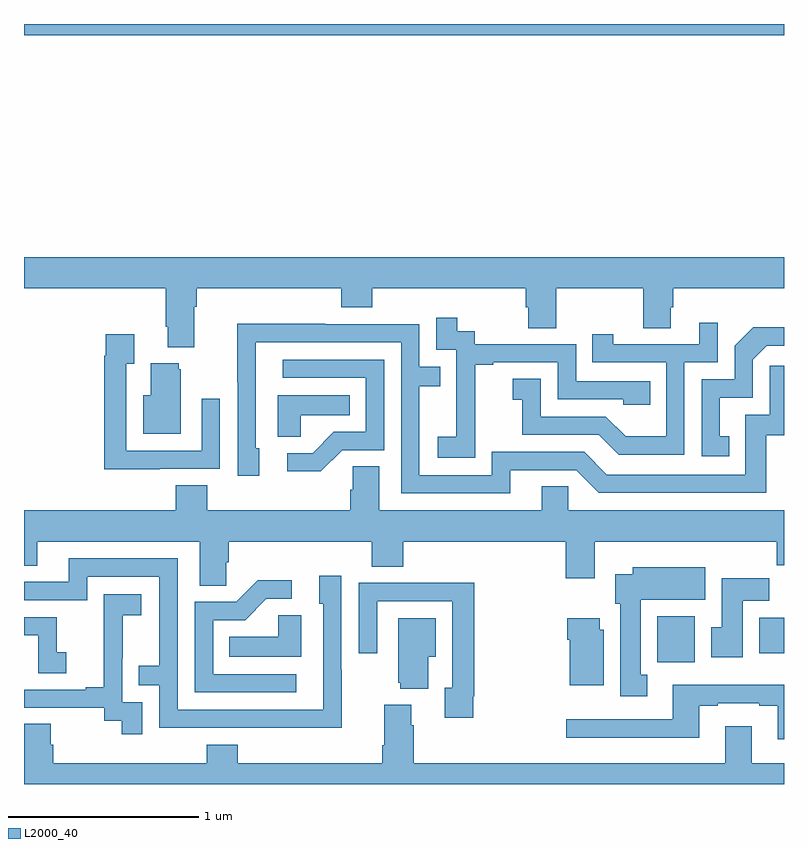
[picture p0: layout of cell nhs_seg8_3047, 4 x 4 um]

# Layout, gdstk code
import gdstk
lib = gdstk.Library(unit=1e-6, precision=1e-09)
def R(c, l, rs):  # rectangles x0, y0, x1, y1
    for r in rs: c.add(gdstk.rectangle(r[:2], r[2:], *l))
def P(c, l, *ps):  # polygons
    for p in ps: c.add(gdstk.Polygon(p, *l))
L2000_40 = (2000, 40)

nhs_seg8_3047 = lib.new_cell('nhs_seg8_3047')
R(nhs_seg8_3047, L2000_40, [(304.334,1106.54,304.531,1106.782), (304.871,1106.588,305,1106.776), (301,1109.84,305,1109.9)])
P(nhs_seg8_3047, L2000_40, [(301.897,1108.412),(301.91,1108.412),(301.91,1108.508),(302.669,1108.508),(302.669,1108.409),(302.834,1108.409),(302.834,1108.508),(303.641,1108.508),(303.641,1108.41),(303.653,1108.41),(303.653,1108.3),(303.801,1108.3),(303.801,1108.508),(304.258,1108.508),(304.258,1108.3),(304.405,1108.3),(304.405,1108.41),(304.418,1108.41),(304.418,1108.508),(305,1108.508),(305,1108.672),(301,1108.672),(301,1108.508),(301.745,1108.508),(301.745,1108.306),(301.757,1108.306),(301.757,1108.199),(301.897,1108.199)],
  [(303.375,1107.823),(303.374,1107.823),(303.374,1108.107),(303.469,1108.107),(303.469,1108.119),(303.81,1108.119),(303.81,1107.924),(304.155,1107.924),(304.155,1107.897),(304.295,1107.897),(304.295,1108.02),(303.906,1108.02),(303.906,1108.215),(303.372,1108.215),(303.372,1108.284),(303.28,1108.284),(303.28,1108.354),(303.171,1108.354),(303.171,1108.185),(303.276,1108.185),(303.276,1107.956),(303.275,1107.956),(303.275,1107.727),(303.177,1107.727),(303.177,1107.617),(303.375,1107.617)],
  [(304.476,1108.119),(304.65,1108.119),(304.65,1108.327),(304.553,1108.327),(304.553,1108.215),(304.102,1108.215),(304.102,1108.267),(303.991,1108.267),(303.991,1108.119),(304.38,1108.119),(304.38,1107.73),(304.166,1107.73),(304.062,1107.834),(303.72,1107.834),(303.72,1108.033),(303.573,1108.033),(303.573,1107.923),(303.622,1107.923),(303.622,1107.738),(304.025,1107.738),(304.13,1107.633),(304.476,1107.633)],
  [(303.559,1107.552),(303.906,1107.552),(304.026,1107.432),(304.906,1107.432),(304.906,1107.735),(305,1107.735),(305,1108.102),(304.926,1108.102),(304.926,1107.843),(304.797,1107.843),(304.797,1107.528),(304.068,1107.528),(303.948,1107.648),(303.462,1107.648),(303.462,1107.525),(303.081,1107.525),(303.081,1107.994),(303.191,1107.994),(303.191,1108.095),(303.081,1108.095),(303.081,1108.32),(302.585,1108.32),(302.585,1108.322),(302.122,1108.322),(302.122,1108.015),(302.124,1108.015),(302.124,1107.522),(302.239,1107.522),(302.239,1107.666),(302.22,1107.666),(302.22,1108.224),(302.985,1108.224),(302.985,1107.429),(303.559,1107.429)],
  [(304.712,1107.729),(304.663,1107.729),(304.663,1107.933),(304.836,1107.933),(304.836,1108.134),(304.908,1108.206),(305,1108.206),(305,1108.304),(304.838,1108.304),(304.74,1108.206),(304.74,1108.029),(304.566,1108.029),(304.566,1107.624),(304.712,1107.624)],
  [(301.715,1107.558),(302.031,1107.558),(302.031,1107.928),(301.935,1107.928),(301.935,1107.654),(301.539,1107.654),(301.539,1108.111),(301.579,1108.111),(301.579,1108.267),(301.431,1108.267),(301.431,1108.154),(301.423,1108.154),(301.423,1107.557),(301.715,1107.557)],
  [(302.676,1107.657),(302.895,1107.657),(302.895,1108.134),(302.361,1108.134),(302.361,1108.038),(302.799,1108.038),(302.799,1107.753),(302.63,1107.753),(302.519,1107.642),(302.385,1107.642),(302.385,1107.545),(302.563,1107.545)],
  [(301.825,1108.083),(301.814,1108.083),(301.814,1108.114),(301.667,1108.114),(301.667,1107.946),(301.628,1107.946),(301.628,1107.743),(301.825,1107.743)],
  [(302.457,1107.842),(302.714,1107.842),(302.714,1107.946),(302.336,1107.946),(302.336,1107.727),(302.457,1107.727)],
  [(302.064,1107.067),(302.078,1107.067),(302.078,1107.176),(302.831,1107.176),(302.831,1107.043),(302.996,1107.043),(302.996,1107.176),(303.851,1107.176),(303.851,1106.982),(304.003,1106.982),(304.003,1107.176),(304.963,1107.176),(304.963,1107.052),(305,1107.052),(305,1107.34),(303.864,1107.34),(303.864,1107.467),(303.725,1107.467),(303.725,1107.34),(302.869,1107.34),(302.869,1107.572),(302.73,1107.572),(302.73,1107.449),(302.717,1107.449),(302.717,1107.34),(301.964,1107.34),(301.964,1107.473),(301.799,1107.473),(301.799,1107.34),(301,1107.34),(301,1107.049),(301.069,1107.049),(301.069,1107.176),(301.925,1107.176),(301.925,1106.944),(302.064,1106.944)],
  [(302.673,1106.501),(302.67,1106.501),(302.67,1106.995),(302.555,1106.995),(302.555,1106.85),(302.574,1106.85),(302.574,1106.292),(301.809,1106.292),(301.809,1107.087),(301.235,1107.087),(301.235,1106.964),(301,1106.964),(301,1106.868),(301.332,1106.868),(301.332,1106.991),(301.713,1106.991),(301.713,1106.522),(301.603,1106.522),(301.603,1106.421),(301.713,1106.421),(301.713,1106.196),(302.209,1106.196),(302.209,1106.195),(302.673,1106.195)],
  [(304.279,1106.474),(304.246,1106.474),(304.246,1106.87),(304.585,1106.87),(304.585,1107.04),(304.205,1107.04),(304.205,1107.004),(304.112,1107.004),(304.112,1106.85),(304.139,1106.85),(304.139,1106.361),(304.279,1106.361)],
  [(304.783,1106.864),(304.922,1106.864),(304.922,1106.982),(304.673,1106.982),(304.673,1106.724),(304.616,1106.724),(304.616,1106.568),(304.783,1106.568)],
  [(302.434,1106.478),(301.995,1106.478),(301.995,1106.763),(302.164,1106.763),(302.275,1106.874),(302.41,1106.874),(302.41,1106.972),(302.231,1106.972),(302.118,1106.859),(301.899,1106.859),(301.899,1106.382),(302.434,1106.382)],
  [(303.364,1106.362),(303.371,1106.362),(303.371,1106.96),(303.079,1106.96),(303.079,1106.958),(302.763,1106.958),(302.763,1106.589),(302.859,1106.589),(302.859,1106.862),(303.255,1106.862),(303.255,1106.406),(303.215,1106.406),(303.215,1106.25),(303.364,1106.25)],
  [(301.623,1106.331),(301.518,1106.331),(301.518,1106.561),(301.52,1106.561),(301.52,1106.789),(301.618,1106.789),(301.618,1106.899),(301.42,1106.899),(301.42,1106.693),(301.421,1106.693),(301.421,1106.41),(301.325,1106.41),(301.325,1106.397),(301,1106.397),(301,1106.301),(301.422,1106.301),(301.422,1106.233),(301.515,1106.233),(301.515,1106.163),(301.623,1106.163)],
  [(302.458,1106.789),(302.337,1106.789),(302.337,1106.674),(302.08,1106.674),(302.08,1106.57),(302.458,1106.57)],
  [(301.222,1106.593),(301.173,1106.593),(301.173,1106.778),(301,1106.778),(301,1106.682),(301.074,1106.682),(301.074,1106.484),(301.222,1106.484)],
  [(304.051,1106.712),(304.03,1106.712),(304.03,1106.773),(303.86,1106.773),(303.86,1106.66),(303.872,1106.66),(303.872,1106.42),(304.051,1106.42)],
  [(303.127,1106.57),(303.166,1106.57),(303.166,1106.773),(302.969,1106.773),(302.969,1106.433),(302.981,1106.433),(302.981,1106.402),(303.127,1106.402)],
  [(305,1106.422),(304.415,1106.422),(304.415,1106.241),(303.855,1106.241),(303.855,1106.144),(304.555,1106.144),(304.555,1106.313),(304.651,1106.313),(304.651,1106.325),(304.871,1106.325),(304.871,1106.313),(304.967,1106.313),(304.967,1106.136),(305,1106.136)],
  [(305,1106.008),(304.831,1106.008),(304.831,1106.203),(304.691,1106.203),(304.691,1106.008),(303.05,1106.008),(303.05,1106.21),(303.037,1106.21),(303.037,1106.317),(302.897,1106.317),(302.897,1106.104),(302.885,1106.104),(302.885,1106.008),(302.126,1106.008),(302.126,1106.107),(301.961,1106.107),(301.961,1106.008),(301.154,1106.008),(301.154,1106.106),(301.141,1106.106),(301.141,1106.216),(301,1106.216),(301,1105.9),(305,1105.9)])

lib.write_gds('nhs_seg8_3047.gds')
